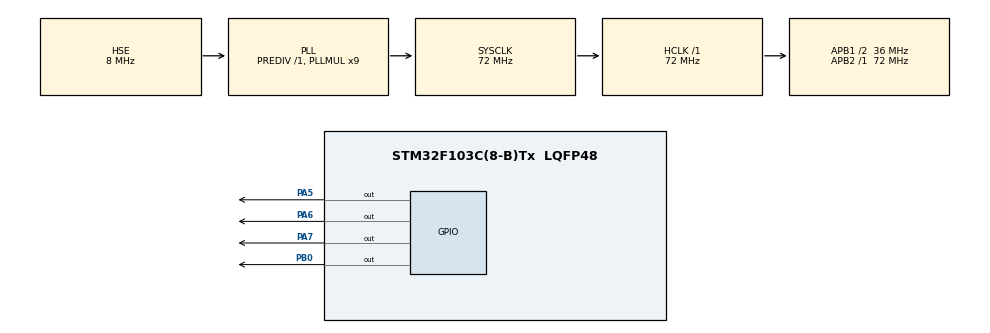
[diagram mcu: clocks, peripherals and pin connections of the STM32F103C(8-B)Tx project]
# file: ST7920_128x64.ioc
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Mcu.Family=STM32F1
Mcu.Name=STM32F103C(8-B)Tx
Mcu.Package=LQFP48
NVIC.PriorityGroup=NVIC_PRIORITYGROUP_4
PA13.Mode=Serial_Wire
PA13.Signal=SYS_JTMS-SWDIO
PA14.Mode=Serial_Wire
PA14.Signal=SYS_JTCK-SWCLK
PA5.Signal=GPIO_Output
PA6.Signal=GPIO_Output
PA7.Signal=GPIO_Output
PB0.Signal=GPIO_Output
PD0-OSC_IN.Mode=HSE-External-Oscillator
PD0-OSC_IN.Signal=RCC_OSC_IN
PD1-OSC_OUT.Mode=HSE-External-Oscillator
PD1-OSC_OUT.Signal=RCC_OSC_OUT
ProjectManager.HeapSize=0x200
ProjectManager.StackSize=0x400
ProjectManager.TargetToolchain=STM32CubeIDE
RCC.AHBFreq_Value=72000000
RCC.APB1CLKDivider=RCC_HCLK_DIV2
RCC.APB1Freq_Value=36000000
RCC.APB1TimFreq_Value=72000000
RCC.APB2Freq_Value=72000000
RCC.APB2TimFreq_Value=72000000
RCC.HCLKFreq_Value=72000000
RCC.PLLMUL=RCC_PLL_MUL9
RCC.PLLSourceVirtual=RCC_PLLSOURCE_HSE
RCC.SYSCLKFreq_VALUE=72000000
RCC.SYSCLKSource=RCC_SYSCLKSOURCE_PLLCLK
RCC.USBFreq_Value=72000000
TIM1.Period=0xffff-1
TIM1.Prescaler=72-1
VP_TIM1_VS_ClockSourceINT.Mode=Internal
board=custom

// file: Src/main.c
/* USER CODE BEGIN Header */
/**
  ******************************************************************************
  * @file           : main.c
  * @brief          : Main program body
  ******************************************************************************
  * @attention
  *
  * <h2><center>&copy; Copyright (c) 2019 STMicroelectronics.
  * All rights reserved.</center></h2>
  *
  * This software component is licensed by ST under BSD 3-Clause license,
  * the "License"; You may not use this file except in compliance with the
  * License. You may obtain a copy of the License at:
  *                        opensource.org/licenses/BSD-3-Clause
  *
  ******************************************************************************
  */
/* USER CODE END Header */
#include "main.h"

/* USER CODE BEGIN Includes */

#include "ST7920_SERIAL.h"
#include "delay.h"
#include "bitmap.h"
/* USER CODE END Includes */

TIM_HandleTypeDef htim1;

void SystemClock_Config(void);
static void MX_GPIO_Init(void);
static void MX_TIM1_Init(void);

int main(void)
{

  /* MCU Configuration--------------------------------------------------------*/

  /* Reset of all peripherals, Initializes the Flash interface and the Systick. */
  HAL_Init();

  /* Configure the system clock */
  SystemClock_Config();

  /* Initialize all configured peripherals */
  MX_GPIO_Init();
  MX_TIM1_Init();
  /* USER CODE BEGIN 2 */

  delay_init();

  ST7920_Init();

  ST7920_SendString(0,0, "HELLO WORLD");
  ST7920_SendString(1,0, "FROM");
  ST7920_SendString(2,0, "CONTROLLERSTECH");
  ST7920_SendString(3,0, "1234567890!@#$%^");

  HAL_Delay(2000);
  ST7920_Clear();

  ST7920_GraphicMode(1);

  ST7920_DrawBitmap(bitmap);

  HAL_Delay(2000);

  ST7920_Clear();

  ST7920_DrawBitmap(logo);

  ST7920_Clear();

  HAL_Delay(100);

  DrawCircle(110, 31, 12);

  DrawCircle(110, 31, 16);

  DrawLine(3, 60, 127, 33);

  ST7920_Update();

  DrawRectangle (100, 12, 20, 14);

  ST7920_Update();

  DrawFilledRectangle(30, 20, 30, 10);

  ST7920_Update();

  DrawFilledCircle(15, 30, 6);

  ST7920_Update();

  DrawFilledTriangle(1,5,10,5,6,15);

  ST7920_Update();

  /* USER CODE END 2 */

  /* Infinite loop */
  while (1)
  {

  }
}

void SystemClock_Config(void)
{
  RCC_OscInitTypeDef RCC_OscInitStruct = {0};
  RCC_ClkInitTypeDef RCC_ClkInitStruct = {0};

  /** Initializes the RCC Oscillators according to the specified parameters
  * in the RCC_OscInitTypeDef structure.
  */
  RCC_OscInitStruct.OscillatorType = RCC_OSCILLATORTYPE_HSE;
  RCC_OscInitStruct.HSEState = RCC_HSE_ON;
  RCC_OscInitStruct.HSEPredivValue = RCC_HSE_PREDIV_DIV1;
  RCC_OscInitStruct.HSIState = RCC_HSI_ON;
  RCC_OscInitStruct.PLL.PLLState = RCC_PLL_ON;
  RCC_OscInitStruct.PLL.PLLSource = RCC_PLLSOURCE_HSE;
  RCC_OscInitStruct.PLL.PLLMUL = RCC_PLL_MUL9;
  if (HAL_RCC_OscConfig(&RCC_OscInitStruct) != HAL_OK)
  {
    Error_Handler();
  }
  /** Initializes the CPU, AHB and APB buses clocks
  */
  RCC_ClkInitStruct.ClockType = RCC_CLOCKTYPE_HCLK|RCC_CLOCKTYPE_SYSCLK
                              |RCC_CLOCKTYPE_PCLK1|RCC_CLOCKTYPE_PCLK2;
  RCC_ClkInitStruct.SYSCLKSource = RCC_SYSCLKSOURCE_PLLCLK;
  RCC_ClkInitStruct.AHBCLKDivider = RCC_SYSCLK_DIV1;
  RCC_ClkInitStruct.APB1CLKDivider = RCC_HCLK_DIV2;
  RCC_ClkInitStruct.APB2CLKDivider = RCC_HCLK_DIV1;

  if (HAL_RCC_ClockConfig(&RCC_ClkInitStruct, FLASH_LATENCY_2) != HAL_OK)
  {
    Error_Handler();
  }
}

static void MX_TIM1_Init(void)
{

  TIM_ClockConfigTypeDef sClockSourceConfig = {0};
  TIM_MasterConfigTypeDef sMasterConfig = {0};

  htim1.Instance = TIM1;
  htim1.Init.Prescaler = 72-1;
  htim1.Init.CounterMode = TIM_COUNTERMODE_UP;
  htim1.Init.Period = 0xffff-1;
  htim1.Init.ClockDivision = TIM_CLOCKDIVISION_DIV1;
  htim1.Init.RepetitionCounter = 0;
  htim1.Init.AutoReloadPreload = TIM_AUTORELOAD_PRELOAD_DISABLE;
  if (HAL_TIM_Base_Init(&htim1) != HAL_OK)
  {
    Error_Handler();
  }
  sClockSourceConfig.ClockSource = TIM_CLOCKSOURCE_INTERNAL;
  if (HAL_TIM_ConfigClockSource(&htim1, &sClockSourceConfig) != HAL_OK)
  {
    Error_Handler();
  }
  sMasterConfig.MasterOutputTrigger = TIM_TRGO_RESET;
  sMasterConfig.MasterSlaveMode = TIM_MASTERSLAVEMODE_DISABLE;
  if (HAL_TIMEx_MasterConfigSynchronization(&htim1, &sMasterConfig) != HAL_OK)
  {
    Error_Handler();
  }

}

static void MX_GPIO_Init(void)
{
  GPIO_InitTypeDef GPIO_InitStruct = {0};

  /* GPIO Ports Clock Enable */
  __HAL_RCC_GPIOD_CLK_ENABLE();
  __HAL_RCC_GPIOA_CLK_ENABLE();
  __HAL_RCC_GPIOB_CLK_ENABLE();

  /*Configure GPIO pin Output Level */
  HAL_GPIO_WritePin(GPIOA, GPIO_PIN_5|GPIO_PIN_6|GPIO_PIN_7, GPIO_PIN_RESET);

  /*Configure GPIO pin Output Level */
  HAL_GPIO_WritePin(GPIOB, GPIO_PIN_0, GPIO_PIN_RESET);

  /*Configure GPIO pins : PA5 PA6 PA7 */
  GPIO_InitStruct.Pin = GPIO_PIN_5|GPIO_PIN_6|GPIO_PIN_7;
  GPIO_InitStruct.Mode = GPIO_MODE_OUTPUT_PP;
  GPIO_InitStruct.Pull = GPIO_NOPULL;
  GPIO_InitStruct.Speed = GPIO_SPEED_FREQ_LOW;
  HAL_GPIO_Init(GPIOA, &GPIO_InitStruct);

  /*Configure GPIO pin : PB0 */
  GPIO_InitStruct.Pin = GPIO_PIN_0;
  GPIO_InitStruct.Mode = GPIO_MODE_OUTPUT_PP;
  GPIO_InitStruct.Pull = GPIO_NOPULL;
  GPIO_InitStruct.Speed = GPIO_SPEED_FREQ_LOW;
  HAL_GPIO_Init(GPIOB, &GPIO_InitStruct);

}

void Error_Handler(void)
{
}

/************************ (C) COPYRIGHT STMicroelectronics *****END OF FILE****/
